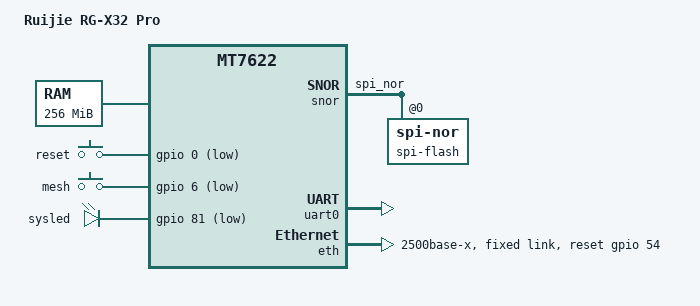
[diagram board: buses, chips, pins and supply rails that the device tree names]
// SPDX-License-Identifier: GPL-2.0
/*
 * Copyright (c) 2019 MediaTek Inc.
 * Author: Sam Shih <sam.shih@mediatek.com>
 */

/dts-v1/;
#include "mt7622.dtsi"
#include "mt7622-u-boot.dtsi"
#include <dt-bindings/gpio/gpio.h>
#include <dt-bindings/input/linux-event-codes.h>

/ {
    #address-cells = <1>;
	#size-cells = <1>;
	model = "Ruijie RG-X32 Pro";
	compatible = "ruijie,rg-x32-pro", "mediatek,mt7622-rfb";

    config {
		u-boot,mmc-env-partition = "u-boot-env";
        bootcmd = "mtkboardboot";
		blink_led = "sysled";
		system_led = "sysled";
	};

	chosen {
		stdout-path = &uart0;
		tick-timer = &timer0;
	};

	aliases {
		spi0 = &snor;
	};

    memory@40000000 {
		device_type = "memory";
		reg = <0x40000000 0x10000000>;
	};

    gpio-keys {
		compatible = "gpio-keys";

		reset-button {
			label = "reset";
			gpios = <&gpio 0 GPIO_ACTIVE_LOW>;
			linux,code = <KEY_RESTART>;
		};

		mesh-button {
			label = "mesh";
			gpios = <&gpio 6 GPIO_ACTIVE_LOW>;
			linux,code = <KEY_RIGHTALT>;
		};
	};

	leds {
		compatible = "gpio-leds";

		led@0 {
			label = "sysled";
			gpios = <&gpio 81 GPIO_ACTIVE_LOW>;
		};
	};

    bl2_verify {
		bl2_compatible = "spi_nor";
	};
};

&pinctrl {
    snor_pins: snor-pins {
		mux {
			function = "flash";
			groups = "spi_nor";
		};
	};
};

&snor {
	pinctrl-names = "default";
	pinctrl-0 = <&snor_pins>;
	status = "okay";

	spi-flash@0{
		compatible = "jedec,spi-nor";
		reg = <0>;
		spi-tx-bus-width = <1>;
		spi-rx-bus-width = <4>;
		bootph-all;
	};
};

&uart0 {
	status = "okay";
};

&eth {
	status = "okay";
	mediatek,gmac-id = <0>;
	phy-mode = "2500base-x";
	mediatek,switch = "mt7531";
	reset-gpios = <&gpio 54 GPIO_ACTIVE_HIGH>;

	fixed-link {
		speed = <2500>;
		full-duplex;
	};
};

&watchdog {
	status = "disabled";
};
